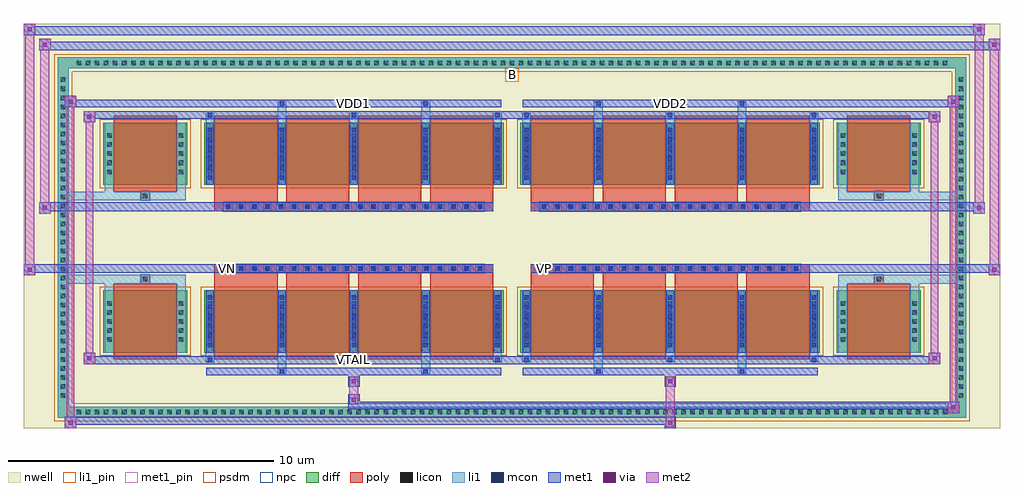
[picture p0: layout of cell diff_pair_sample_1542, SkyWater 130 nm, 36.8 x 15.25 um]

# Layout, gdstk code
import gdstk
lib = gdstk.Library(unit=1e-6, precision=5e-09)
def R(c, l, rs):  # rectangles x0, y0, x1, y1
    for r in rs: c.add(gdstk.rectangle(r[:2], r[2:], *l))
def A(c, l, x, y, w, h, nx, ny, dx, dy):  # array of equal rectangles
    R(c, l, [(x+i*dx, y+j*dy, x+i*dx+w, y+j*dy+h) for i in range(nx) for j in range(ny)])
def P(c, l, *ps):  # polygons
    for p in ps: c.add(gdstk.Polygon(p, *l))
nwell = (64, 20)
diff = (65, 20)
poly = (66, 20)
licon = (66, 44)
li1_pin = (67, 16)
li1 = (67, 20)
mcon = (67, 44)
met1_pin = (68, 16)
met1 = (68, 20)
via = (68, 44)
met2 = (69, 20)
psdm = (94, 20)
npc = (95, 20)

diff_pair_sample_1542 = lib.new_cell('diff_pair_sample_1542')
R(diff_pair_sample_1542, nwell, [(-18.4,-7.19,18.4,8.06), (-15.72,-5.38,-0.01,-0.8), (0.01,-5.38,15.72,-0.8), (-15.72,0.8,-0.01,5.38), (0.01,0.8,15.72,5.38)])
A(diff_pair_sample_1542, diff, -16.525, -6.79, 0.41, 0.41, 97, 2, 0.34, 13.17)
A(diff_pair_sample_1542, diff, -17.13, -6.155, 0.41, 0.41, 1, 36, 0, 0.34)
A(diff_pair_sample_1542, diff, 16.72, -6.155, 0.41, 0.41, 1, 36, 0, 0.34)
R(diff_pair_sample_1542, diff, [(-16.525,-6.79,16.525,-6.38), (-17.13,-6.155,-16.72,6.155), (16.72,-6.155,17.13,6.155), (-15.41,-4.335,-12.25,-1.985), (-11.61,-4.335,-0.32,-1.985), (0.32,-4.335,11.61,-1.985), (12.25,-4.335,15.41,-1.985), (-15.41,1.985,-12.25,4.335), (-11.61,1.985,-0.32,4.335), (0.32,1.985,11.61,4.335), (12.25,1.985,15.41,4.335), (-16.525,6.38,16.525,6.79)])
P(diff_pair_sample_1542, diff, [(17.13,6.79),(-17.13,6.79),(-17.13,-6.38),(-16.72,-6.38),(-16.72,6.38),(16.72,6.38),(16.72,-6.38),(-16.72,-6.38),(-17.13,-6.38),(-17.13,-6.79),(17.13,-6.79)])
A(diff_pair_sample_1542, poly, -11.22, -4.585, 2.38, 2.85, 4, 2, 2.71, 6.32)
A(diff_pair_sample_1542, poly, 0.71, -4.585, 2.38, 2.85, 4, 2, 2.71, 6.32)
A(diff_pair_sample_1542, poly, -11.22, -1.735, 2.38, 0.405, 4, 2, 2.71, 3.065)
A(diff_pair_sample_1542, poly, 0.71, -1.735, 2.38, 0.405, 4, 2, 2.71, 3.065)
A(diff_pair_sample_1542, poly, -10.88, -1.33, 0.33, 0.33, 20, 2, 0.5, 2.33)
A(diff_pair_sample_1542, poly, 1.05, -1.33, 0.33, 0.33, 20, 2, 0.5, 2.33)
R(diff_pair_sample_1542, poly, [(-15.02,-4.585,-12.64,-1.735), (12.64,-4.585,15.02,-1.735), (-13.995,-1.735,-13.665,-1.405), (-13.995,-1.735,-13.665,-1.405), (13.665,-1.735,13.995,-1.405), (13.665,-1.735,13.995,-1.405), (-11.22,-1.33,-0.71,-1), (0.71,-1.33,11.22,-1), (-11.22,1,-0.71,1.33), (0.71,1,11.22,1.33), (-13.995,1.405,-13.665,1.735), (-13.995,1.405,-13.665,1.735), (13.665,1.405,13.995,1.735), (13.665,1.405,13.995,1.735), (-15.02,1.735,-12.64,4.585), (12.64,1.735,15.02,4.585)])
A(diff_pair_sample_1542, licon, -16.405, -6.67, 0.17, 0.17, 97, 2, 0.34, 13.17)
A(diff_pair_sample_1542, licon, -17.01, -6.035, 0.17, 0.17, 1, 36, 0, 0.34)
A(diff_pair_sample_1542, licon, 16.84, -6.035, 0.17, 0.17, 1, 36, 0, 0.34)
A(diff_pair_sample_1542, licon, -15.27, -3.925, 0.17, 0.17, 1, 5, 0, 0.34)
A(diff_pair_sample_1542, licon, -12.56, -3.925, 0.17, 0.17, 1, 5, 0, 0.34)
A(diff_pair_sample_1542, licon, -11.47, -3.925, 0.17, 0.17, 5, 5, 2.71, 0.34)
A(diff_pair_sample_1542, licon, 0.46, -3.925, 0.17, 0.17, 5, 5, 2.71, 0.34)
A(diff_pair_sample_1542, licon, 12.39, -3.925, 0.17, 0.17, 1, 5, 0, 0.34)
A(diff_pair_sample_1542, licon, 15.1, -3.925, 0.17, 0.17, 1, 5, 0, 0.34)
A(diff_pair_sample_1542, licon, -10.8, -1.25, 0.17, 0.17, 20, 2, 0.5, 2.33)
A(diff_pair_sample_1542, licon, 1.13, -1.25, 0.17, 0.17, 20, 2, 0.5, 2.33)
A(diff_pair_sample_1542, licon, -15.27, 2.395, 0.17, 0.17, 1, 5, 0, 0.34)
A(diff_pair_sample_1542, licon, -12.56, 2.395, 0.17, 0.17, 1, 5, 0, 0.34)
A(diff_pair_sample_1542, licon, -11.47, 2.395, 0.17, 0.17, 5, 5, 2.71, 0.34)
A(diff_pair_sample_1542, licon, 0.46, 2.395, 0.17, 0.17, 5, 5, 2.71, 0.34)
A(diff_pair_sample_1542, licon, 12.39, 2.395, 0.17, 0.17, 1, 5, 0, 0.34)
A(diff_pair_sample_1542, licon, 15.1, 2.395, 0.17, 0.17, 1, 5, 0, 0.34)
R(diff_pair_sample_1542, licon, [(-13.915,-1.655,-13.745,-1.485), (13.745,-1.655,13.915,-1.485), (-13.915,1.485,-13.745,1.655), (13.745,1.485,13.915,1.655)])
R(diff_pair_sample_1542, li1_pin, [(-0.25,5.88,0.25,6.38)])
A(diff_pair_sample_1542, li1, -16.485, -6.75, 0.33, 0.33, 97, 2, 0.34, 13.17)
A(diff_pair_sample_1542, li1, -17.09, -6.115, 0.33, 0.33, 1, 36, 0, 0.34)
A(diff_pair_sample_1542, li1, 16.76, -6.115, 0.33, 0.33, 1, 36, 0, 0.34)
A(diff_pair_sample_1542, li1, -11.55, -4.71, 0.33, 0.375, 3, 2, 5.42, 9.045)
A(diff_pair_sample_1542, li1, -11.47, -4.71, 0.17, 0.17, 3, 2, 5.42, 9.25)
A(diff_pair_sample_1542, li1, 0.38, -4.71, 0.33, 0.375, 3, 2, 5.42, 9.045)
A(diff_pair_sample_1542, li1, 0.46, -4.71, 0.17, 0.17, 3, 2, 5.42, 9.25)
A(diff_pair_sample_1542, li1, -11.55, -4.335, 0.33, 2.35, 5, 2, 2.71, 6.32)
A(diff_pair_sample_1542, li1, 0.38, -4.335, 0.33, 2.35, 5, 2, 2.71, 6.32)
A(diff_pair_sample_1542, li1, -11.47, -4.145, 0.17, 0.17, 5, 6, 2.71, 0.36)
A(diff_pair_sample_1542, li1, -11.47, -4.145, 0.17, 1.97, 5, 2, 2.71, 6.32)
A(diff_pair_sample_1542, li1, 0.46, -4.145, 0.17, 0.17, 5, 6, 2.71, 0.36)
A(diff_pair_sample_1542, li1, 0.46, -4.145, 0.17, 1.97, 5, 2, 2.71, 6.32)
A(diff_pair_sample_1542, li1, -15.35, -4.005, 0.33, 0.33, 1, 5, 0, 0.34)
A(diff_pair_sample_1542, li1, -12.64, -4.005, 0.33, 0.33, 1, 5, 0, 0.34)
A(diff_pair_sample_1542, li1, -11.55, -4.005, 0.33, 0.33, 5, 5, 2.71, 0.34)
A(diff_pair_sample_1542, li1, 0.38, -4.005, 0.33, 0.33, 5, 5, 2.71, 0.34)
A(diff_pair_sample_1542, li1, 12.31, -4.005, 0.33, 0.33, 1, 5, 0, 0.34)
A(diff_pair_sample_1542, li1, 15.02, -4.005, 0.33, 0.33, 1, 5, 0, 0.34)
A(diff_pair_sample_1542, li1, -10.88, -1.33, 0.33, 0.33, 20, 2, 0.5, 2.33)
A(diff_pair_sample_1542, li1, 1.05, -1.33, 0.33, 0.33, 20, 2, 0.5, 2.33)
A(diff_pair_sample_1542, li1, -11.47, 2.175, 0.17, 0.17, 5, 6, 2.71, 0.36)
A(diff_pair_sample_1542, li1, 0.46, 2.175, 0.17, 0.17, 5, 6, 2.71, 0.36)
A(diff_pair_sample_1542, li1, -15.35, 2.315, 0.33, 0.33, 1, 5, 0, 0.34)
A(diff_pair_sample_1542, li1, -12.64, 2.315, 0.33, 0.33, 1, 5, 0, 0.34)
A(diff_pair_sample_1542, li1, -11.55, 2.315, 0.33, 0.33, 5, 5, 2.71, 0.34)
A(diff_pair_sample_1542, li1, 0.38, 2.315, 0.33, 0.33, 5, 5, 2.71, 0.34)
A(diff_pair_sample_1542, li1, 12.31, 2.315, 0.33, 0.33, 1, 5, 0, 0.34)
A(diff_pair_sample_1542, li1, 15.02, 2.315, 0.33, 0.33, 1, 5, 0, 0.34)
R(diff_pair_sample_1542, li1, [(-17.13,-6.79,-16.72,-6.38), (-17.13,-6.79,-16.72,-6.38), (-16.72,-6.79,16.72,-6.38), (16.72,-6.79,17.13,-6.38), (16.72,-6.79,17.13,-6.38), (-17.13,-6.38,-16.72,6.38), (16.72,-6.38,17.13,6.38), (-8.84,-5.14,-8.51,-4.335), (-8.76,-5.14,-8.59,-4.97), (-3.42,-5.14,-3.09,-4.335), (-3.34,-5.14,-3.17,-4.97), (3.09,-5.14,3.42,-4.335), (3.17,-5.14,3.34,-4.97), (8.51,-5.14,8.84,-4.335), (8.59,-5.14,8.76,-4.97), (-15.35,-4.335,-15.02,-1.985), (-12.64,-4.335,-12.31,-1.985), (12.31,-4.335,12.64,-1.985), (15.02,-4.335,15.35,-1.985), (-15.35,-1.985,-15.02,-1.405), (-12.64,-1.985,-12.31,-1.405), (12.31,-1.985,12.64,-1.405), (15.02,-1.985,15.35,-1.405), (-17.13,-1.735,-13.995,-1.405), (-15.35,-1.735,-13.995,-1.405), (-13.995,-1.735,-13.665,-1.405), (-13.665,-1.735,-12.31,-1.405), (12.31,-1.735,13.665,-1.405), (13.665,-1.735,13.995,-1.405), (13.665,-1.735,17.13,-1.405), (13.995,-1.735,15.35,-1.405), (-17.13,1.405,-13.995,1.735), (-15.35,1.405,-13.995,1.735), (-15.35,1.405,-15.02,1.985), (-13.995,1.405,-13.665,1.735), (-13.665,1.405,-12.31,1.735), (-12.64,1.405,-12.31,1.985), (12.31,1.405,13.665,1.735), (12.31,1.405,12.64,1.985), (13.665,1.405,13.995,1.735), (13.665,1.405,17.13,1.735), (13.995,1.405,15.35,1.735), (15.02,1.405,15.35,1.985), (-15.35,1.985,-15.02,4.335), (-12.64,1.985,-12.31,4.335), (12.31,1.985,12.64,4.335), (15.02,1.985,15.35,4.335), (-8.84,4.335,-8.51,5.14), (-3.42,4.335,-3.09,5.14), (3.09,4.335,3.42,5.14), (8.51,4.335,8.84,5.14), (-8.76,4.97,-8.59,5.14), (-3.34,4.97,-3.17,5.14), (3.17,4.97,3.34,5.14), (8.59,4.97,8.76,5.14), (-17.13,6.38,-16.72,6.79), (-17.13,6.38,-16.72,6.79), (-16.72,6.38,16.72,6.79), (16.72,6.38,17.13,6.79), (16.72,6.38,17.13,6.79)])
A(diff_pair_sample_1542, mcon, -11.47, -4.71, 0.17, 0.17, 3, 2, 5.42, 9.25)
A(diff_pair_sample_1542, mcon, 0.46, -4.71, 0.17, 0.17, 3, 2, 5.42, 9.25)
A(diff_pair_sample_1542, mcon, -11.47, -4.145, 0.17, 0.17, 5, 6, 2.71, 0.36)
A(diff_pair_sample_1542, mcon, 0.46, -4.145, 0.17, 0.17, 5, 6, 2.71, 0.36)
A(diff_pair_sample_1542, mcon, -10.8, -1.25, 0.17, 0.17, 20, 2, 0.5, 2.33)
A(diff_pair_sample_1542, mcon, 1.13, -1.25, 0.17, 0.17, 20, 2, 0.5, 2.33)
A(diff_pair_sample_1542, mcon, -11.47, 2.175, 0.17, 0.17, 5, 6, 2.71, 0.36)
A(diff_pair_sample_1542, mcon, 0.46, 2.175, 0.17, 0.17, 5, 6, 2.71, 0.36)
R(diff_pair_sample_1542, mcon, [(-8.76,-5.14,-8.59,-4.97), (-3.34,-5.14,-3.17,-4.97), (3.17,-5.14,3.34,-4.97), (8.59,-5.14,8.76,-4.97), (-8.76,4.97,-8.59,5.14), (-3.34,4.97,-3.17,5.14), (3.17,4.97,3.34,5.14), (8.59,4.97,8.76,5.14)])
R(diff_pair_sample_1542, met1_pin, [(-6.1,-4.75,-5.83,-4.48), (-10.85,-1.29,-10.58,-1.02), (1.08,-1.29,1.35,-1.02), (-6.1,4.93,-5.83,5.2), (5.83,4.93,6.1,5.2)])
A(diff_pair_sample_1542, met1, -11.53, -4.77, 0.29, 0.29, 3, 2, 5.42, 9.25)
A(diff_pair_sample_1542, met1, 0.4, -4.77, 0.29, 0.29, 3, 2, 5.42, 9.25)
A(diff_pair_sample_1542, met1, -11.53, -4.335, 0.29, 2.35, 5, 2, 2.71, 6.32)
A(diff_pair_sample_1542, met1, 0.4, -4.335, 0.29, 2.35, 5, 2, 2.71, 6.32)
A(diff_pair_sample_1542, met1, -11.53, -4.205, 0.29, 0.29, 5, 6, 2.71, 0.36)
A(diff_pair_sample_1542, met1, 0.4, -4.205, 0.29, 0.29, 5, 6, 2.71, 0.36)
A(diff_pair_sample_1542, met1, -10.86, -1.31, 0.29, 0.29, 20, 2, 0.5, 2.33)
A(diff_pair_sample_1542, met1, 1.07, -1.31, 0.29, 0.29, 20, 2, 0.5, 2.33)
A(diff_pair_sample_1542, met1, -11.53, 2.115, 0.29, 0.29, 5, 6, 2.71, 0.36)
A(diff_pair_sample_1542, met1, 0.4, 2.115, 0.29, 0.29, 5, 6, 2.71, 0.36)
R(diff_pair_sample_1542, met1, [(-16.86,-7.19,-16.43,-6.76), (5.75,-7.19,6.18,-6.76), (-16.86,-7.05,6.18,-6.76), (16.43,-6.62,16.86,-6.19), (-6.18,-6.48,16.86,-6.19), (-6.18,-6.34,-5.75,-5.91), (-6.18,-5.63,-5.75,-5.2), (5.75,-5.63,6.18,-5.2), (-11.53,-5.2,-0.4,-4.91), (-8.82,-5.2,-8.53,-4.91), (-3.4,-5.2,-3.11,-4.91), (0.4,-5.2,11.53,-4.91), (3.11,-5.2,3.4,-4.91), (8.53,-5.2,8.82,-4.91), (-16.15,-4.77,-15.72,-4.34), (-16.15,-4.77,-11.53,-4.48), (-11.53,-4.77,-0.4,-4.48), (-0.4,-4.77,0.4,-4.48), (0.4,-4.77,11.53,-4.48), (11.53,-4.77,16.15,-4.48), (15.72,-4.77,16.15,-4.34), (-18.4,-1.43,-17.97,-1), (17.97,-1.43,18.4,-1), (-18.4,-1.33,-0.71,-1), (-11.22,-1.33,-0.71,-1), (0.71,-1.33,11.22,-1), (0.71,-1.33,18.4,-1), (-17.83,0.9,-17.4,1.33), (17.4,0.9,17.83,1.33), (-17.83,1,-11.22,1.33), (-11.22,1,-0.71,1.33), (0.71,1,11.22,1.33), (11.22,1,17.83,1.33), (-16.15,4.34,-15.72,4.77), (15.72,4.34,16.15,4.77), (-16.15,4.48,-11.53,4.77), (-11.53,4.48,-0.4,4.77), (-0.4,4.48,0.4,4.77), (0.4,4.48,11.53,4.77), (11.53,4.48,16.15,4.77), (-16.86,4.91,-16.43,5.34), (-16.86,4.91,-11.53,5.2), (-11.53,4.91,-0.4,5.2), (-8.82,4.91,-8.53,5.2), (-3.4,4.91,-3.11,5.2), (0.4,4.91,11.53,5.2), (3.11,4.91,3.4,5.2), (8.53,4.91,8.82,5.2), (11.53,4.91,16.86,5.2), (16.43,4.91,16.86,5.34), (-17.83,7.06,-17.4,7.49), (-17.83,7.06,-15.72,7.39), (-15.72,7.06,15.72,7.39), (15.72,7.06,18.4,7.39), (17.97,7.06,18.4,7.49), (-18.4,7.63,-17.97,8.06), (-18.4,7.63,-15.72,7.96), (-15.72,7.63,15.72,7.96), (15.72,7.63,17.83,7.96), (17.4,7.63,17.83,8.06)])
R(diff_pair_sample_1542, via, [(-16.72,-7.05,-16.57,-6.9), (5.89,-7.05,6.04,-6.9), (16.57,-6.48,16.72,-6.33), (-6.04,-6.2,-5.89,-6.05), (-6.04,-5.49,-5.89,-5.34), (5.89,-5.49,6.04,-5.34), (-16.01,-4.63,-15.86,-4.48), (15.86,-4.63,16.01,-4.48), (-18.26,-1.29,-18.11,-1.14), (18.11,-1.29,18.26,-1.14), (-17.69,1.04,-17.54,1.19), (17.54,1.04,17.69,1.19), (-16.01,4.48,-15.86,4.63), (15.86,4.48,16.01,4.63), (-16.72,5.05,-16.57,5.2), (16.57,5.05,16.72,5.2), (-17.69,7.2,-17.54,7.35), (18.11,7.2,18.26,7.35), (-18.26,7.77,-18.11,7.92), (17.54,7.77,17.69,7.92)])
R(diff_pair_sample_1542, met2, [(-16.86,-7.19,-16.43,-6.76), (-16.79,-7.19,-16.5,5.34), (-16.5,-7.19,-16.43,-6.76), (-16.81,-7.14,-16.48,-6.81), (5.8,-7.14,6.13,-6.81), (5.8,-6.81,6.13,-5.58), (16.43,-6.62,16.86,-6.19), (16.5,-6.62,16.79,5.34), (16.79,-6.62,16.86,-6.19), (16.48,-6.57,16.81,-6.24), (-6.13,-6.29,-5.8,-5.96), (-6.13,-5.96,-5.8,-5.58), (-6.13,-5.58,-5.8,-5.25), (5.8,-5.58,6.13,-5.25), (-16.15,-4.77,-15.72,-4.34), (-16.08,-4.77,-15.79,4.77), (-15.79,-4.77,-15.72,-4.34), (15.72,-4.77,16.15,-4.34), (15.79,-4.77,16.08,4.77), (16.08,-4.77,16.15,-4.34), (-16.1,-4.72,-15.77,-4.39), (15.77,-4.72,16.1,-4.39), (-18.4,-1.43,-17.97,-1), (-18.35,-1.43,-18.02,8.06), (-18.02,-1.43,-17.97,-1), (17.97,-1.43,18.4,-1), (18.02,-1.43,18.35,7.49), (18.35,-1.43,18.4,-1), (-18.35,-1.38,-18.02,-1.05), (18.02,-1.38,18.35,-1.05), (-17.83,0.9,-17.4,1.33), (-17.78,0.9,-17.45,7.49), (-17.45,0.9,-17.4,1.33), (17.4,0.9,17.83,1.33), (17.45,0.9,17.78,8.06), (17.78,0.9,17.83,1.33), (-17.78,0.95,-17.45,1.28), (17.45,0.95,17.78,1.28), (-16.15,4.34,-15.72,4.77), (-15.79,4.34,-15.72,4.77), (15.72,4.34,16.15,4.77), (16.08,4.34,16.15,4.77), (-16.1,4.39,-15.77,4.72), (15.77,4.39,16.1,4.72), (-16.86,4.91,-16.43,5.34), (-16.5,4.91,-16.43,5.34), (16.43,4.91,16.86,5.34), (16.79,4.91,16.86,5.34), (-16.81,4.96,-16.48,5.29), (16.48,4.96,16.81,5.29), (-17.83,7.06,-17.4,7.49), (-17.45,7.06,-17.4,7.49), (17.97,7.06,18.4,7.49), (18.35,7.06,18.4,7.49), (-17.78,7.11,-17.45,7.44), (18.02,7.11,18.35,7.44), (-18.4,7.63,-17.97,8.06), (-18.02,7.63,-17.97,8.06), (17.4,7.63,17.83,8.06), (17.78,7.63,17.83,8.06), (-18.35,7.68,-18.02,8.01), (17.45,7.68,17.78,8.01)])
R(diff_pair_sample_1542, psdm, [(-15.54,-4.465,-12.12,-1.855), (-11.74,-4.465,-0.19,-1.855), (0.19,-4.465,11.74,-1.855), (12.12,-4.465,15.54,-1.855), (-15.54,1.855,-12.12,4.465), (-11.74,1.855,-0.19,4.465), (0.19,1.855,11.74,4.465), (12.12,1.855,15.54,4.465)])
P(diff_pair_sample_1542, psdm, [(17.26,6.92),(-17.26,6.92),(-17.26,-6.25),(-16.59,-6.25),(-16.59,6.25),(16.59,6.25),(16.59,-6.25),(-16.59,-6.25),(-17.26,-6.25),(-17.26,-6.92),(17.26,-6.92)])
A(diff_pair_sample_1542, npc, -10.9, -1.35, 0.37, 0.37, 20, 2, 0.5, 2.33)
A(diff_pair_sample_1542, npc, 1.03, -1.35, 0.37, 0.37, 20, 2, 0.5, 2.33)
R(diff_pair_sample_1542, npc, [(-14.015,-1.755,-13.645,-1.385), (13.645,-1.755,14.015,-1.385), (-10.9,-1.35,-10.03,-0.98), (-10.9,-1.35,-10.03,-0.98), (-10.4,-1.35,-9.53,-0.98), (-10.4,-1.35,-9.53,-0.98), (-9.9,-1.35,-9.03,-0.98), (-9.9,-1.35,-9.03,-0.98), (-9.4,-1.35,-8.53,-0.98), (-9.4,-1.35,-8.53,-0.98), (-8.9,-1.35,-8.03,-0.98), (-8.9,-1.35,-8.03,-0.98), (-8.4,-1.35,-7.53,-0.98), (-8.4,-1.35,-7.53,-0.98), (-7.9,-1.35,-7.03,-0.98), (-7.9,-1.35,-7.03,-0.98), (-7.4,-1.35,-6.53,-0.98), (-7.4,-1.35,-6.53,-0.98), (-6.9,-1.35,-6.03,-0.98), (-6.9,-1.35,-6.03,-0.98), (-6.4,-1.35,-5.53,-0.98), (-6.4,-1.35,-5.53,-0.98), (-5.9,-1.35,-5.03,-0.98), (-5.9,-1.35,-5.03,-0.98), (-5.4,-1.35,-4.53,-0.98), (-5.4,-1.35,-4.53,-0.98), (-4.9,-1.35,-4.03,-0.98), (-4.9,-1.35,-4.03,-0.98), (-4.4,-1.35,-3.53,-0.98), (-4.4,-1.35,-3.53,-0.98), (-3.9,-1.35,-3.03,-0.98), (-3.9,-1.35,-3.03,-0.98), (-3.4,-1.35,-2.53,-0.98), (-3.4,-1.35,-2.53,-0.98), (-2.9,-1.35,-2.03,-0.98), (-2.9,-1.35,-2.03,-0.98), (-2.4,-1.35,-1.53,-0.98), (-2.4,-1.35,-1.53,-0.98), (-1.9,-1.35,-1.03,-0.98), (-1.9,-1.35,-1.03,-0.98), (1.03,-1.35,1.9,-0.98), (1.03,-1.35,1.9,-0.98), (1.53,-1.35,2.4,-0.98), (1.53,-1.35,2.4,-0.98), (2.03,-1.35,2.9,-0.98), (2.03,-1.35,2.9,-0.98), (2.53,-1.35,3.4,-0.98), (2.53,-1.35,3.4,-0.98), (3.03,-1.35,3.9,-0.98), (3.03,-1.35,3.9,-0.98), (3.53,-1.35,4.4,-0.98), (3.53,-1.35,4.4,-0.98), (4.03,-1.35,4.9,-0.98), (4.03,-1.35,4.9,-0.98), (4.53,-1.35,5.4,-0.98), (4.53,-1.35,5.4,-0.98), (5.03,-1.35,5.9,-0.98), (5.03,-1.35,5.9,-0.98), (5.53,-1.35,6.4,-0.98), (5.53,-1.35,6.4,-0.98), (6.03,-1.35,6.9,-0.98), (6.03,-1.35,6.9,-0.98), (6.53,-1.35,7.4,-0.98), (6.53,-1.35,7.4,-0.98), (7.03,-1.35,7.9,-0.98), (7.03,-1.35,7.9,-0.98), (7.53,-1.35,8.4,-0.98), (7.53,-1.35,8.4,-0.98), (8.03,-1.35,8.9,-0.98), (8.03,-1.35,8.9,-0.98), (8.53,-1.35,9.4,-0.98), (8.53,-1.35,9.4,-0.98), (9.03,-1.35,9.9,-0.98), (9.03,-1.35,9.9,-0.98), (9.53,-1.35,10.4,-0.98), (9.53,-1.35,10.4,-0.98), (10.03,-1.35,10.9,-0.98), (10.03,-1.35,10.9,-0.98), (-10.9,0.98,-10.03,1.35), (-10.9,0.98,-10.03,1.35), (-10.4,0.98,-9.53,1.35), (-10.4,0.98,-9.53,1.35), (-9.9,0.98,-9.03,1.35), (-9.9,0.98,-9.03,1.35), (-9.4,0.98,-8.53,1.35), (-9.4,0.98,-8.53,1.35), (-8.9,0.98,-8.03,1.35), (-8.9,0.98,-8.03,1.35), (-8.4,0.98,-7.53,1.35), (-8.4,0.98,-7.53,1.35), (-7.9,0.98,-7.03,1.35), (-7.9,0.98,-7.03,1.35), (-7.4,0.98,-6.53,1.35), (-7.4,0.98,-6.53,1.35), (-6.9,0.98,-6.03,1.35), (-6.9,0.98,-6.03,1.35), (-6.4,0.98,-5.53,1.35), (-6.4,0.98,-5.53,1.35), (-5.9,0.98,-5.03,1.35), (-5.9,0.98,-5.03,1.35), (-5.4,0.98,-4.53,1.35), (-5.4,0.98,-4.53,1.35), (-4.9,0.98,-4.03,1.35), (-4.9,0.98,-4.03,1.35), (-4.4,0.98,-3.53,1.35), (-4.4,0.98,-3.53,1.35), (-3.9,0.98,-3.03,1.35), (-3.9,0.98,-3.03,1.35), (-3.4,0.98,-2.53,1.35), (-3.4,0.98,-2.53,1.35), (-2.9,0.98,-2.03,1.35), (-2.9,0.98,-2.03,1.35), (-2.4,0.98,-1.53,1.35), (-2.4,0.98,-1.53,1.35), (-1.9,0.98,-1.03,1.35), (-1.9,0.98,-1.03,1.35), (1.03,0.98,1.9,1.35), (1.03,0.98,1.9,1.35), (1.53,0.98,2.4,1.35), (1.53,0.98,2.4,1.35), (2.03,0.98,2.9,1.35), (2.03,0.98,2.9,1.35), (2.53,0.98,3.4,1.35), (2.53,0.98,3.4,1.35), (3.03,0.98,3.9,1.35), (3.03,0.98,3.9,1.35), (3.53,0.98,4.4,1.35), (3.53,0.98,4.4,1.35), (4.03,0.98,4.9,1.35), (4.03,0.98,4.9,1.35), (4.53,0.98,5.4,1.35), (4.53,0.98,5.4,1.35), (5.03,0.98,5.9,1.35), (5.03,0.98,5.9,1.35), (5.53,0.98,6.4,1.35), (5.53,0.98,6.4,1.35), (6.03,0.98,6.9,1.35), (6.03,0.98,6.9,1.35), (6.53,0.98,7.4,1.35), (6.53,0.98,7.4,1.35), (7.03,0.98,7.9,1.35), (7.03,0.98,7.9,1.35), (7.53,0.98,8.4,1.35), (7.53,0.98,8.4,1.35), (8.03,0.98,8.9,1.35), (8.03,0.98,8.9,1.35), (8.53,0.98,9.4,1.35), (8.53,0.98,9.4,1.35), (9.03,0.98,9.9,1.35), (9.03,0.98,9.9,1.35), (9.53,0.98,10.4,1.35), (9.53,0.98,10.4,1.35), (10.03,0.98,10.9,1.35), (10.03,0.98,10.9,1.35), (-14.015,1.385,-13.645,1.755), (13.645,1.385,14.015,1.755)])
diff_pair_sample_1542.add(gdstk.Label('VTAIL', (-5.965,-4.615), layer=68, texttype=5))
diff_pair_sample_1542.add(gdstk.Label('VN', (-10.715,-1.155), layer=68, texttype=5))
diff_pair_sample_1542.add(gdstk.Label('VP', (1.215,-1.155), layer=68, texttype=5))
diff_pair_sample_1542.add(gdstk.Label('B', (0,6.13), layer=67, texttype=5))
diff_pair_sample_1542.add(gdstk.Label('VDD2', (5.965,5.065), layer=68, texttype=5))
diff_pair_sample_1542.add(gdstk.Label('VDD1', (-5.965,5.065), layer=68, texttype=5))

lib.write_gds('diff_pair_sample_1542.gds')
